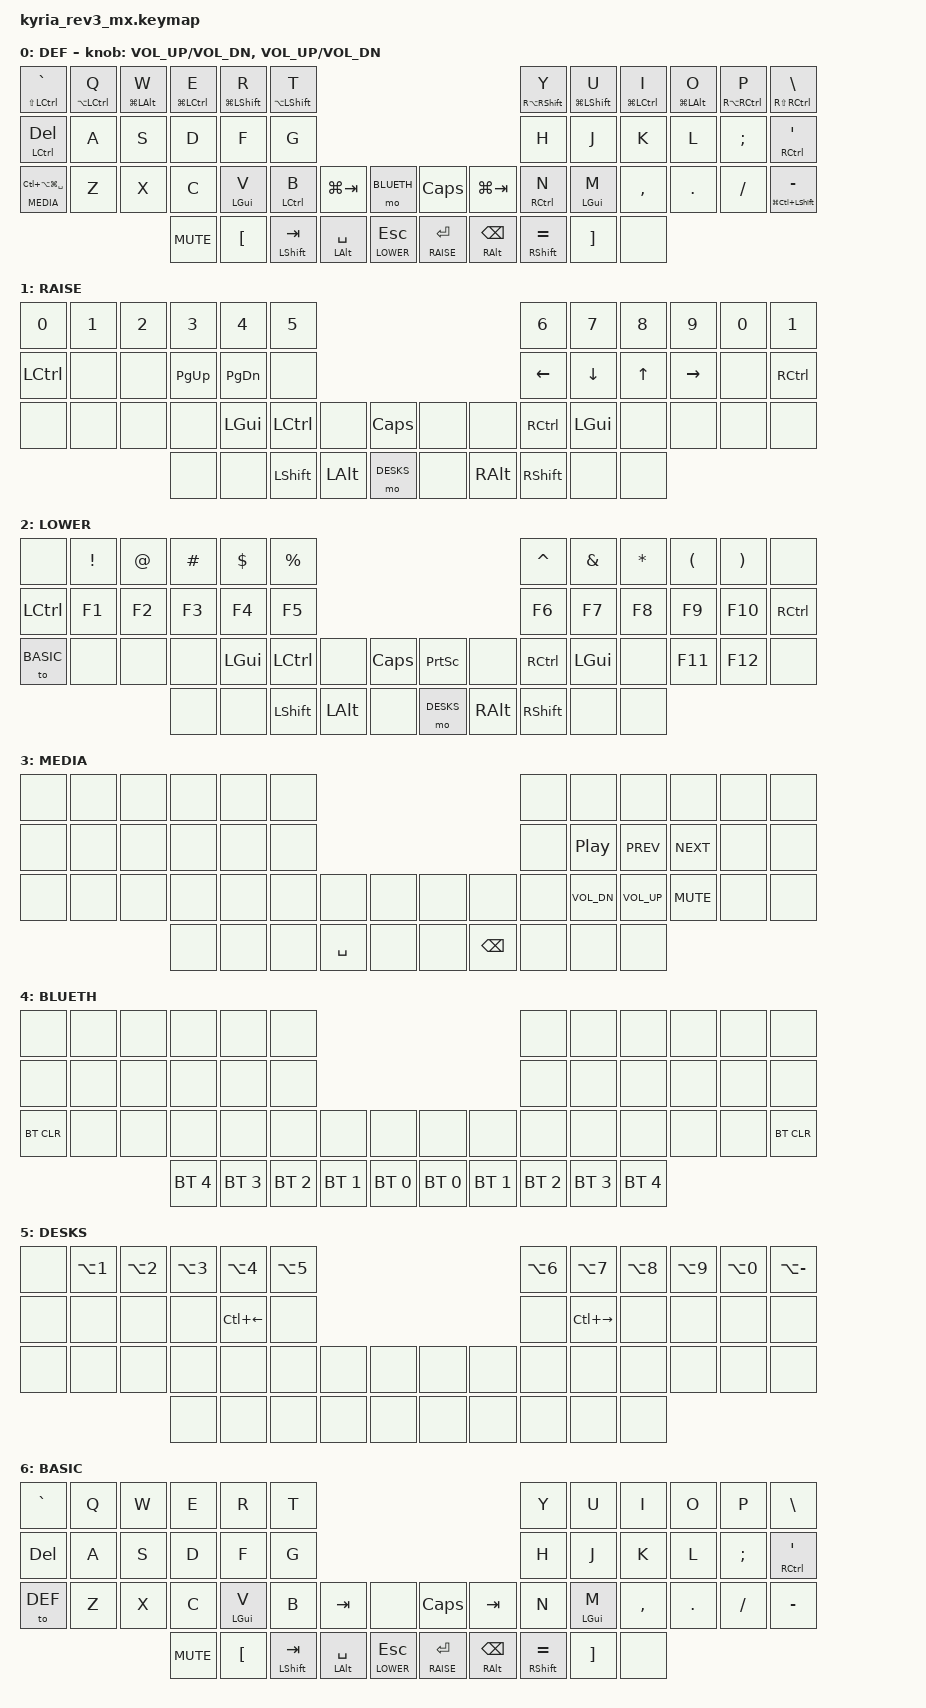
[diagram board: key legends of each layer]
/*
 * Copyright (c) 2020 The ZMK Contributors
 *
 * SPDX-License-Identifier: MIT
 */

#include <behaviors.dtsi>
#include <dt-bindings/zmk/keys.h>
#include <dt-bindings/zmk/bt.h>
#include <dt-bindings/zmk/outputs.h>


// https://discord.com/channels/719497620560543766/1147076510541414471/1226868037278236712
// https://github.com/schmjop/zmk-config/blob/9a9640eabe1da341fb321a938070a003089d7c84/config/kyria.keymap
// Encoders
&sensors        { triggers-per-rotation = <30>; };
&left_encoder   { steps = <60>; };
&right_encoder  { steps = <60>; };

// Layer aliases
#define DEF      0
#define RAISE    1
#define LOWER    2
#define MEDIA    3
#define BLUETH   4
#define DESKS    5
#define BASIC    6

// key aliases
#define TAB_LT      LC(LS(TAB)) // tab left
#define TAB_RT      LC(TAB) // tab right
#define GUI_TAB     LG(TAB) // gui+tab
#define DESK_LT     LC(LEFT) // desktop left
#define DESK_RT     LC(RIGHT) // desktop right

#define L_SC        LS(LEFT_CONTROL)
#define R_SC        RS(RIGHT_CONTROL)
#define L_AC        LA(LEFT_CONTROL)
#define R_AC        RA(RIGHT_CONTROL)
#define L_GC        LG(LEFT_CONTROL)
#define R_GC        RG(RIGHT_CONTROL)
#define L_GA        LG(LEFT_ALT)
#define R_GA        RG(RIGHT_ALT)
#define L_GS        LG(LEFT_SHIFT)
#define R_GS        RG(RIGHT_SHIFT)
#define L_AS        LA(LEFT_SHIFT)
#define R_AS        RA(RIGHT_SHIFT)
#define L_GCS       LG(LC(LEFT_SHIFT))

#define SPECIAL     LC(LA(LG(SPACE))) // Hold Left Control, Alt and GUI and press Space

&mt {
    flavor = "hold-preferred";
    tapping-term-ms = <150>;
};

&lt {
    flavor = "balanced";
    tapping-term-ms = <150>;
};

/ {
    behaviors {
        adm: alpha_double_mods {
            compatible = "zmk,behavior-hold-tap";
            label = "ALPHA_DOUBLE_MT";
            #binding-cells = <2>;
            tapping-term-ms = <250>;
            quick-tap-ms = <150>;
            flavor = "tap-preferred";
            bindings = <&kp>, <&kp>;
        };
        // timing works better than mt for mod-taps on alpha keys
        am: alpha_mods {
            compatible = "zmk,behavior-hold-tap";
            label = "ALPHA_MT";
            #binding-cells = <2>;
            tapping-term-ms = <200>;
            quick-tap-ms = <150>;
            flavor = "tap-preferred";
            bindings = <&kp>, <&kp>;
        };
        as: alpha_shift {
            compatible = "zmk,behavior-hold-tap";
            label = "ALPHA_SFT";
            #binding-cells = <2>;
            tapping-term-ms = <175>;
            quick-tap-ms = <150>;
            flavor = "tap-preferred";
            bindings = <&kp>, <&kp>;
        };
        volknob: volume_encoder {
            compatible = "zmk,behavior-sensor-rotate";
            label = "ENCODER_VOLUME_KNOB";
            #sensor-binding-cells = <0>;
            bindings = <&kp C_VOL_UP>, <&kp C_VOL_DN>;
        };
    };

    keymap {
        compatible = "zmk,keymap";
/*
 * Default Layer: DEF
 *
 * ,----------------------------------------------.                                               ,-----------------------------------------------.
 * |  sc_~ `  | ac_Q | ga_W | gc_E | gs_R |  sa_T |                                               | sa_Y | gs_U |  gc_I   | ga_O | ac_P |  sc_\ | |
 * |----------+------+------+------+------+-------|                                               |------+------+---------+------+------+---------|
 * |  c_Del   |   A  |  S   |  D   |  F   |   G   |                                               |  H   |  J   |    K    |  L   |  ; : |  c_' "  |
 * |----------+------+------+------+------+-------+-------------------.       ,-------------------+------+------+---------+------+------+---------|
 * | sp_Media |   Z  |  X   |  C   |  g_V |  c_B  | GuiTab  | BLUETH  |       |  CapsLk | GuiTab  | c_N  | g_M  |   , <   |  . > |  / ? | gcs_- _ |
 * `----------+------+------+------+------+-------+---------+---------|       |---------+---------+------+------+---------+------+------+---------'
 *                          | Mute |  [{  | s_Tab | a_Space | LOW_Esc |       | RAI_Ent | a_Bkspc | s_=+ |  ]}  |         |
 *                          `-----------------------------------------'       `-------------------------------------------'
 */
        default_layer {
            label = "DEF";
            bindings = <
// ╭───────────────────┬────────────┬────────────┬────────────┬─────────────┬───────────────╮                                                                      ╭─────────────────┬────────────┬────────────┬────────────┬────────────┬─────────────────╮
     &am L_SC GRAVE      &am L_AC Q   &am L_GA W   &am L_GC E   &am L_GS R    &am L_AS T                                                                             &am R_AS Y        &am L_GS U   &am L_GC I   &am L_GA O   &am R_AC P   &am R_SC BSLH
// ├───────────────────├────────────┼────────────┼────────────┼─────────────┼───────────────┤                                                                      ├─────────────────├────────────┼────────────┼────────────┼────────────┼─────────────────┤
     &am LCTRL DEL       &kp A        &kp S        &kp D        &kp F         &kp G                                                                                  &kp H             &kp J        &kp K        &kp L        &kp SEMI     &am RCTRL SQT
// ├───────────────────├────────────┼────────────┼────────────┼─────────────┼───────────────┼────────────────┬───────────────╮     ╭───────────────┬───────────────├─────────────────├────────────┼────────────┼────────────┼────────────┼─────────────────┤
     &lt MEDIA SPECIAL   &kp Z        &kp X        &kp C        &am LGUI V    &am LCTRL B     &kp GUI_TAB      &mo BLUETH              &kp CAPS       &kp GUI_TAB    &am RCTRL N       &am LGUI M   &kp COMMA    &kp DOT      &kp FSLH     &mt L_GCS MINUS
// ╰───────────────────┴────────────┴────────────┼────────────┼─────────────┼───────────────┼────────────────┼───────────────┤     ├───────────────├───────────────├─────────────────├────────────┼────────────┼────────────┴────────────┴─────────────────╯
                                                   &kp C_MUTE   &kp LBKT      &am LSHFT TAB   &as LALT SPACE   &lt LOWER ESC         &lt RAISE RET   &as RALT BSPC   &am RSHFT EQUAL   &kp RBKT     &none
//                                               ╰────────────┴─────────────┴───────────────┴────────────────┴───────────────╯     ╰───────────────┴───────────────┴─────────────────┴────────────┴────────────╯
            >;

            sensor-bindings = <&inc_dec_kp C_VOL_UP C_VOL_DN &inc_dec_kp C_VOL_UP C_VOL_DN>;
        };

/*
 * RAISE Layer: Numbers and Arrow/Scroll Navigation
 *
 * ,-----------------------------------------.                                ,--------------------------------------------.
 * |  0   |  1   |  2   |  3   |  4   |  5   |                                |   6  |  7   |  8   |  9   |   0   |   1    |
 * |------+------+------+------+------+------|                                |------+------+------+------+-------+--------|
 * | CTRL |      |      | PgUp | PgDn |      |                                | Left | Down |  Up  |Right |       |  CTRL  |
 * |------+------+------+------+------+------+-------------.    ,-------------+------+------+------+------+-------+--------|
 * |      |      |      |      | Gui  | Ctrl |      |CapsLk|    |      |      | Ctrl | Gui  |      |      |       |        |
 * `--------------------+------+------+------+------+------|    |------+------+------+------+------+-----------------------'
 *                      |      |      | Shft | Alt  |DESKS |    |RAISE | Alt  | Shft |      |      |
 *                      `----------------------------------'    `----------------------------------'
 */
        raise_layer {
            label = "RAISE";
            bindings = <
// ╭───────────┬────────┬────────┬───────────┬───────────┬───────────╮                                             ╭───────────┬──────────┬────────┬───────────┬────────┬───────────╮
     &kp N0      &kp N1   &kp N2   &kp N3      &kp N4      &kp N5                                                    &kp N6      &kp N7     &kp N8   &kp N9      &kp N0   &kp N1
// ├───────────├────────┼────────┼───────────┼───────────┼───────────┤                                             ├───────────├──────────┼────────┼───────────┼────────┼───────────┤
     &kp LCTRL   &none    &none    &kp PG_UP   &kp PG_DN   &none                                                     &kp LEFT    &kp DOWN   &kp UP   &kp RIGHT   &none    &kp RCTRL
// ├───────────├────────┼────────┼───────────┼───────────┼───────────┼──────────┬───────────╮   ╭───────┬──────────├───────────├──────────┼────────┼───────────┼────────┼───────────┤
     &none       &none    &none    &none       &kp LGUI    &kp LCTRL   &none      &kp CAPS        &none   &none      &kp RCTRL   &kp LGUI   &none    &none       &none    &none
// ╰───────────┴────────┴────────┼───────────┼───────────┼───────────┼──────────┼───────────┤   ├───────├──────────├───────────├──────────┼────────┼───────────┴────────┴───────────╯
                                   &none       &none       &kp LSHFT   &kp LALT   &mo DESKS       &none   &kp RALT   &kp RSHFT   &none      &none
//                               ╰───────────┴───────────┴───────────┴──────────┴───────────╯   ╰───────┴──────────┴───────────┴──────────┴────────╯
            >;
        };

/*
 * LOWER Layer: Symbols and Function keys
 *
 * ,------------------------------------------.                                    ,------------------------------------------.
 * |       |  !   |  @   |  #   |  $   |  %   |                                    |   ^  |   &  |  *   |  (   |  )   |       |
 * |-------+------+------+------+------+------|                                    |------+------+------+------+------+-------|
 * | CTRL  |  F1  |  F2  |  F3  |  F4  |  F5  |                                    |  F6  |  F7  |  F8  |  F9  | F10  | CTRL  |
 * |-------+------+------+------+------+------+---------------.    ,---------------+------+------+------+------+------+-------|
 * | BASIC |      |      |      | Gui  | Ctrl |      | CapsLk |    | PrtScn |      | Ctrl | Gui  |      |  F11 | F12  |       |
 * `---------------------+------+------+------+------+--------|    |--------+------+------+------+------+---------------------'
 *                       |      |      | Shft | Alt  | LOWER  |    | DESKS  | Alt  | Shft |      |      |
 *                       `------------------------------------'    `------------------------------------'
 */
        lower_layer {
            label = "LOWER";
            bindings = <
// ╭────────────┬──────────┬────────┬──────────┬────────────┬───────────╮                                                 ╭───────────┬──────────┬──────────┬──────────┬──────────┬───────────╮
     &none        &kp EXCL   &kp AT   &kp HASH   &kp DOLLAR   &kp PRCNT                                                     &kp CARET   &kp AMPS   &kp STAR   &kp LPAR   &kp RPAR   &none
// ├────────────├──────────┼────────┼──────────┼────────────┼───────────┤                                                 ├───────────├──────────┼──────────┼──────────┼──────────┼───────────┤
     &kp LCTRL    &kp F1     &kp F2   &kp F3     &kp F4       &kp F5                                                        &kp F6      &kp F7     &kp F8     &kp F9     &kp F10    &kp RCTRL
// ├────────────├──────────┼────────┼──────────┼────────────┼───────────┼──────────┬──────────╮   ╭───────────┬───────────├───────────├──────────┼──────────┼──────────┼──────────┼───────────┤
     &to  BASIC    &none      &none    &none      &kp LGUI     &kp LCTRL    &none     &kp CAPS       &kp PSCRN   &none       &kp RCTRL   &kp LGUI   &none      &kp F11    &kp F12    &none
// ╰────────────┴──────────┴────────┼──────────┼────────────┼───────────┼──────────┼──────────┤   ├───────────├───────────├───────────├──────────┼──────────┼──────────┴──────────┴───────────╯
                                      &none      &none        &kp LSHFT   &kp LALT    &none         &mo DESKS   &kp RALT    &kp RSHFT   &none      &none
//                                  ╰──────────┴────────────┴───────────┴──────────┴──────────╯   ╰───────────┴───────────┴───────────┴──────────┴──────────╯
            >;
        };

/*
 * Media Layer
 *
 * ,--------------------------------------------------.                                     ,---------------------------------------------.
 * |      |        |        |        |        |       |                                     |      |       |       |       |      |       |
 * |------+--------+--------+--------+--------+-------|                                     |------+-------+-------+-------+------+-------|
 * |      |        |        |        |        |       |                                     |      | Play  | Prev  | Next  |      |       |
 * |------+--------+--------+--------+--------+-------+--------------.       ,--------------+------+-------+-------+-------+------+-------|
 * |      |        |        |        |        |       |       |      |       |      |       |      | VolDn | VolUp |VolMute|      |       |
 * `------------------------+--------+--------+-------+-------+------|       |------+-------+------+-------+-------+----------------------'
 *                          |        |        |       | Space |      |       |      | Bkspc |      |       |       |
 *                          `----------------------------------------'       `-------------------------------------'
 */
        media_layer {
            label = "MEDIA";
            bindings = <
// ╭───────┬───────┬───────┬───────┬───────┬───────╮                                          ╭───────┬──────────────┬──────────────┬────────────┬───────┬───────╮
     &none   &none   &none   &none   &none   &none                                              &none   &none          &none          &none        &none   &none
// ├───────├───────┼───────┼───────┼───────┼───────┤                                          ├───────├──────────────┼──────────────┼────────────┼───────┼───────┤
     &none   &none   &none   &none   &none   &none                                              &none   &kp C_PP       &kp C_PREV     &kp C_NEXT   &none   &none
// ├───────├───────┼───────┼───────┼───────┼───────┼───────────┬───────╮   ╭───────┬──────────├───────├──────────────┼──────────────┼────────────┼───────┼───────┤
     &none   &none   &none   &none   &none   &none    &none      &none       &none   &none      &none   &kp C_VOL_DN   &kp C_VOL_UP   &kp C_MUTE   &none   &none
// ╰───────┴───────┴───────┼───────┼───────┼───────┼───────────┼───────┤   ├───────├──────────├───────├──────────────┼──────────────┼────────────┴───────┴───────╯
                             &none   &none   &none   &kp SPACE   &none       &none   &kp BSPC   &none   &none          &none
//                         ╰───────┴───────┴───────┴───────────┴───────╯   ╰───────┴──────────┴───────┴──────────────┴──────────────╯
            >;
        };

/*
 * Bluetooth Layer
 *
 * ,-----------------------------------------.                                   ,-------------------------------------------.
 * |      |      |      |      |      |      |                                   |      |      |      |       |      |       |
 * |------+------+------+------+------+------|                                   |------+------+------+-------+------+-------|
 * |      |      |      |      |      |      |                                   |      |      |      |       |      |       |
 * |------+------+------+------+------+------+-------------.       ,-------------+------+------+------+-------+------+-------|
 * |BT_CLR|      |      |      |      |      |      |BLUETH|       |      |      |      |      |      |       |      |BT_CLR |
 * `--------------------+------+------+------+------+------|       |------+------+------+------+------+----------------------'
 *                      |BT_P_4|BT_P_3|BT_P_2|BT_P_1|BT_P_0|       |BT_P_0|BT_P_1|BT_P_2|BT_P_3|BT_P_4|
 *                      `----------------------------------'       `----------------------------------'
 */
        bluetooth_layer {
            label = "BLUETH";
            bindings = <
// ╭────────────┬───────┬───────┬──────────────┬──────────────┬──────────────╮                                                               ╭──────────────┬──────────────┬──────────────┬─────────┬─────────┬────────────╮
       &none      &none   &none      &none          &none         &none                                                                           &none          &none          &none        &none     &none      &none
// ├────────────┼───────┼───────┼──────────────┼──────────────┼──────────────┤                                                               ├──────────────├──────────────┼──────────────┼─────────┼─────────┼────────────┤
       &none      &none   &none      &none          &none         &none                                                                           &none          &none          &none        &none     &none      &none
// ├────────────┼───────┼───────┼──────────────┼──────────────┼──────────────┼──────────────┬──────────────╮   ╭──────────────┬──────────────├──────────────├──────────────┼──────────────┼─────────┼─────────┼────────────┤
     &bt BT_CLR   &none   &none      &none          &none         &none        &none          &none              &none          &none             &none          &none          &none        &none     &none    &bt BT_CLR
// ╰────────────┴───────┴───────┼──────────────┼──────────────┼──────────────┼──────────────┼──────────────┤   ├──────────────├──────────────├──────────────├──────────────┼──────────────┼─────────┴─────────┴────────────╯
                                  &bt BT_SEL 4   &bt BT_SEL 3   &bt BT_SEL 2   &bt BT_SEL 1   &bt BT_SEL 0       &bt BT_SEL 0   &bt BT_SEL 1   &bt BT_SEL 2   &bt BT_SEL 3   &bt BT_SEL 4
//                              ╰──────────────┴──────────────┴──────────────┴──────────────┴──────────────╯   ╰──────────────┴──────────────┴──────────────┴──────────────┴──────────────╯
            >;
        };

/*
 * Desktops Layer
 *
 * ,------------------------------------------.                                ,--------------------------------------------.
 * |      |  D1  |  D2  |  D3  |  D4   |  D5  |                                |  D6  |  D7   |  D8  |  D9  |  D10  |  D11  |
 * |------+------+------+------+-------+------|                                |------+-------+------+------+-------+-------|
 * |      |      |      |      |DESK_LT|      |                                |      |DESK_RT|      |      |       |       |
 * |------+------+------+------+-------+------+-------------.    ,-------------+------+-------+------+------+-------+-------|
 * |      |      |      |      |       |      |      |      |    |      |      |      |       |      |      |       |       |
 * `--------------------+------+-------+------+------+------|    |------+------+------+-------+------+----------------------'
 *                      |      |       |      |      |      |    |      |      |      |       |      |
 *                      `-----------------------------------'    `-----------------------------------'
 */
        desktops_layer {
            label = "DESKS";
            bindings = <
// ╭───────┬────────────┬────────────┬────────────┬─────────────┬────────────╮                                   ╭────────────┬─────────────┬────────────┬────────────┬────────────┬───────────────╮
     &none   &kp LA(N1)   &kp LA(N2)   &kp LA(N3)   &kp LA(N4)    &kp LA(N5)                                       &kp LA(N6)   &kp LA(N7)    &kp LA(N8)   &kp LA(N9)   &kp LA(N0)   &kp LA(MINUS)
// ├───────├────────────┼────────────┼────────────┼─────────────┼────────────┤                                   ├────────────├─────────────┼────────────┼────────────┼────────────┼───────────────┤
     &none     &none        &none        &none      &kp DESK_LT     &none                                             &none     &kp DESK_RT     &none         &none        &none         &none
// ├───────├────────────┼────────────┼────────────┼─────────────┼────────────┼───────┬───────╮   ╭───────┬───────├────────────├─────────────┼────────────┼────────────┼────────────┼───────────────┤
     &none     &none        &none        &none        &none         &none      &none   &none       &none   &none      &none       &none         &none         &none        &none         &none
// ╰───────┴────────────┴────────────┼────────────┼─────────────┼────────────┼───────┼───────┤   ├───────├───────├────────────├─────────────┼────────────┼────────────┴────────────┴───────────────╯
                                         &none        &none         &none      &none   &none       &none   &none      &none       &none         &none
//                                   ╰────────────┴─────────────┴────────────┴───────┴───────╯   ╰───────┴───────┴────────────┴─────────────┴────────────╯
            >;
        };

/*
 * Qwerty Layer: BASIC
 *
 * ,------------------------------------------.                                               ,-----------------------------------------.
 * |    ~ `  |  Q  |  W  |  E   |  R  |   T   |                                               |  Y   |  U  |   I   |  O  |  P   |  \ |  |
 * |---------+-----+-----+------+-----+-------|                                               |------+-----+-------+-----+------+-------|
 * |  c_Del  |  A  |  S  |  D   |  F  |   G   |                                               |  H   |  J  |   K   |  L  |  ; : | c_' " |
 * |---------+-----+-----+------+-----+-------+-------------------.       ,-------------------+------+-----+-------+-----+------+-------|
 * |  DEF    |  Z  |  X  |  C   | g_V |   B   |   Tab   |  NONE   |       |  CapsLk |   Tab   |  B   | g_M |  , <  | . > |  / ? |  - _  |
 * `---------+-----+-----+------+-----+-------+---------+---------|       |---------+---------+------+-----+-------+-----+------+-------'
 *                       | Mute | [ { | s_Tab | a_Space | LOW_Esc |       | RAI_Ent | a_Bkspc | s_=+ | ] } | NONE  |
 *                       `----------------------------------------'       `----------------------------------------'
 */
        qwerty_layer {
            label = "BASIC";
            bindings = <
// ╭───────────┬────────┬────────┬────────────┬────────────┬───────────────╮                                                                      ╭─────────────────┬────────────┬───────────────┬─────────┬────────────┬───────────────╮
     &kp GRAVE   &kp Q    &kp W    &kp E        &kp R        &kp T                                                                                  &kp Y             &kp U        &kp I           &kp O     &kp P        &kp BSLH
// ├───────────├────────┼────────┼────────────┼────────────┼───────────────┤                                                                      ├─────────────────├────────────┼───────────────┼─────────┼────────────┼───────────────┤
     &kp DEL     &kp A    &kp S    &kp D        &kp F        &kp G                                                                                  &kp H             &kp J        &kp K           &kp L     &kp SEMI     &am RCTRL SQT
// ├───────────├────────┼────────┼────────────┼────────────┼───────────────┼────────────────┬───────────────╮     ╭───────────────┬───────────────├─────────────────├────────────┼───────────────┼─────────┼────────────┼───────────────┤
     &to  DEF    &kp Z    &kp X    &kp C        &am LGUI V   &kp B           &kp TAB          &none                 &kp CAPS        &kp TAB         &kp N             &am LGUI M   &kp COMMA       &kp DOT   &kp FSLH     &kp MINUS
// ╰───────────┴────────┴────────┼────────────┼────────────┼───────────────┼────────────────┼───────────────┤     ├───────────────├───────────────├─────────────────├────────────┼───────────────┼─────────┴────────────┴───────────────╯
                                   &kp C_MUTE   &kp LBKT     &am LSHFT TAB   &as LALT SPACE   &lt LOWER ESC         &lt RAISE RET   &as RALT BSPC   &am RSHFT EQUAL   &kp RBKT     &none
//                               ╰────────────┴────────────┴───────────────┴────────────────┴───────────────╯     ╰───────────────┴───────────────┴─────────────────┴────────────┴───────────────╯
            >;
        };


    };
};
